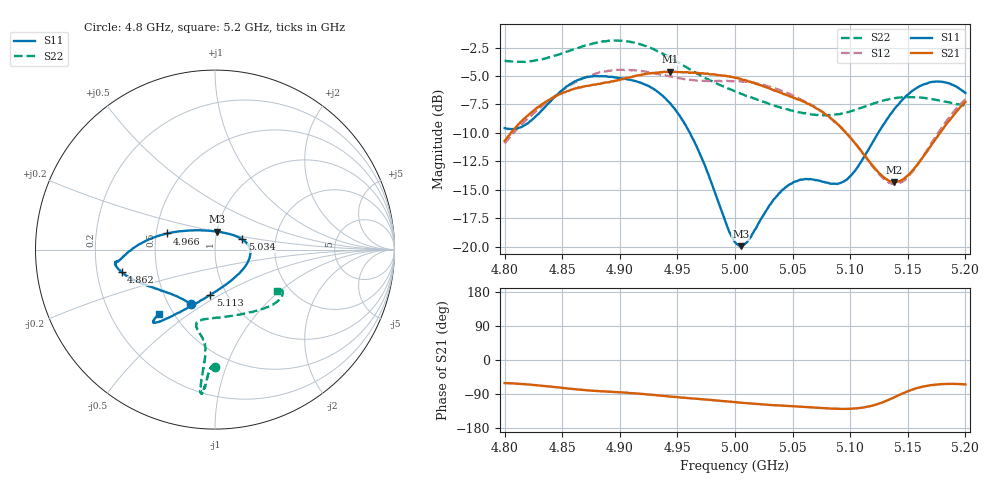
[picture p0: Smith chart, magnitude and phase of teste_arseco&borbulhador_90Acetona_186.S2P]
! Network Analyzer HP8722D
! Hewlett-Packard
! Data name: Linha & Wilkinson
! Saver's name: Rodrigo Anjos
! Comments: Teste da utilização de aquisição
! continua pelo VNA HP8722D
! Time and date: 17/4/2025 12:36
!  Frequency  S11  S21  S12  S22
# HZ  S  MA R 50
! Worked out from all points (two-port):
!   401 points, 4.8 GHz to 5.2 GHz, reference 50 ohm
!   highest |S21| = -4.61 dB at 4.944 GHz (marker M1); lowest = -14.3 dB at 5.138 GHz (marker M2)
!   |S21| within 3 dB of the highest: 4.831 GHz to 5.067 GHz (236.4 MHz wide, 4.78 % of centre); 5.196776 GHz to end of sweep
!   lowest |S11| = -19.9 dB at 5.005 GHz (marker M3), VSWR 1.22, Z = 50.3 + j10.2 ohm
!   |S11| at or under -10 dB: 4.961 GHz to 5.124 GHz (163.4 MHz wide, 3.24 % of centre)
!   |S22| runs from -8.5 to -1.9 dB; largest |S21 - S12| = 0.88
!   S11 on the Smith chart (normalised r, x): 4.8 GHz: 0.64, -0.44; 4.862 GHz: 0.31, -0.11; 4.966 GHz: 0.57, +0.11; 5.034 GHz: 1.35, +0.16; 5.113 GHz: 0.84, -0.45; 5.2 GHz: 0.42, -0.39
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4.8e9  0.3321 -114.0  0.2912 -61.1  0.2846 -175.3  0.6565 -89.9
4.819e9  0.3466 -134.0  0.3733 -64.2  0.3609 -173.9  0.6509 -91.5
4.862e9  0.5352 -166.4  0.4969 -77.3  0.5295 -177.1  0.744 -93.9
4.867e9  0.5481 -168.4  0.5035 -78.8  0.5453 -178.0  0.7569 -94.1
4.9e9  0.5515 -173.0  0.5417 -85.4  0.5983 175.5  0.8037 -95.4
4.934e9  0.475 -179.1  0.5818 -93.6  0.5738 171.6  0.7175 -95.9
4.944e9  0.4257 176.2  0.5882 -96.4  0.559 171.8  0.6747 -95.7
4.966e9  0.2806 161.3  0.5804 -102.1  0.5376 173.6  0.5814 -95.3
5e9  0.1049 99.3  0.5521 -111.4  0.5336 176.1  0.4821 -99.4
5.005e9  0.1007 82.3  0.5457 -112.6  0.5318 175.9  0.4698 -100.7
5.012e9  0.1074 60.3  0.5312 -114.6  0.5272 175.6  0.4575 -102.0
5.034e9  0.1623 20.9  0.4864 -119.3  0.4986 174.7  0.4175 -104.0
5.05e9  0.1908 4.6  0.4547 -122.1  0.4615 174.0  0.396 -100.0
5.067e9  0.1979 -13.6  0.4168 -125.1  0.4181 173.6  0.3808 -91.1
5.093e9  0.1923 -57.9  0.3306 -128.8  0.3296 173.9  0.3847 -70.8
5.113e9  0.2533 -95.8  0.2507 -124.6  0.2493 180.0  0.4135 -55.2
5.134e9  0.3758 -117.1  0.1947 -104.2  0.1906 -157.2  0.4454 -43.1
5.138e9  0.4007 -119.3  0.1922 -98.8  0.1889 -150.9  0.4487 -41.3
5.151e9  0.4701 -125.2  0.2078 -81.4  0.2054 -130.9  0.4545 -36.5
5.17e9  0.5284 -129.5  0.2774 -66.4  0.283 -112.5  0.446 -32.1
5.184e9  0.5253 -130.8  0.3486 -63.2  0.3595 -107.4  0.4327 -31.2
5.2e9  0.4737 -131.3  0.4328 -64.5  0.4446 -106.5  0.4167 -33.6
